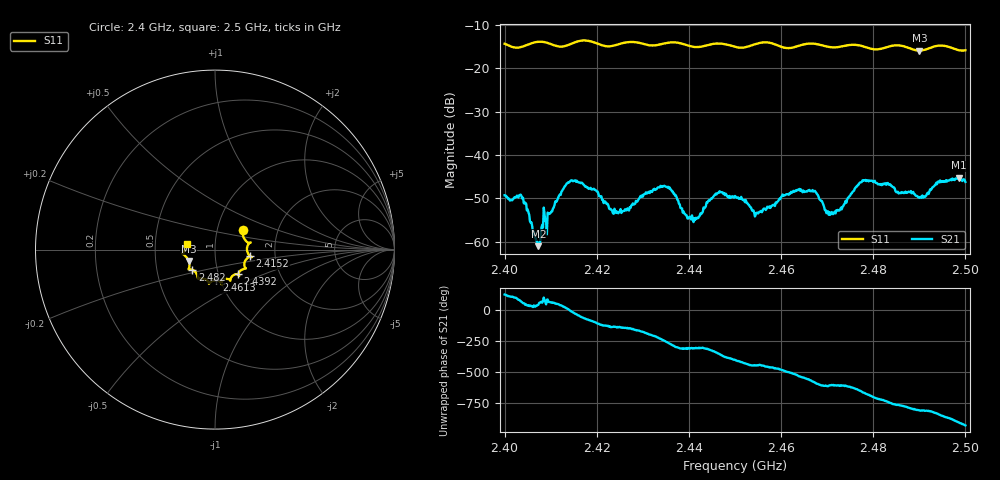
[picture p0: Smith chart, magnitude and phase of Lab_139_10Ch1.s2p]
# Hz S RI R 50
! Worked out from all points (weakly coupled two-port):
!   601 points, 2.4 GHz to 2.5 GHz, reference 50 ohm
!   highest |S21| = -45.25 dB at 2.4987 GHz (marker M1); lowest = -61.1 dB at 2.4073 GHz (marker M2)
!   lowest |S11| = -15.9 dB at 2.49 GHz (marker M3), VSWR 1.38, Z = 36.9 - j4.8 ohm
!   |S11| at or under -10 dB: start of sweep to end of sweep
!   S12 and S22 are empty: the file has one direction only
!   S11 on the Smith chart (normalised r, x): 2.4 GHz: 1.33, +0.31; 2.4152 GHz: 1.48, -0.11; 2.4392 GHz: 1.24, -0.35; 2.4613 GHz: 0.96, -0.34; 2.482 GHz: 0.76, -0.18; 2.5 GHz: 0.73, +0.05
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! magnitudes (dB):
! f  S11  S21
! 2.4 GHz  -14.3  -49.3
! 2.4038 GHz  -15.0  -50.1
! 2.4073 GHz  -13.9  -61.1
! 2.4085 GHz  -13.9  -52.2
! 2.4152 GHz  -14.0  -46.0
! 2.4167 GHz  -13.6  -46.4
! 2.4245 GHz  -14.5  -53.3
! 2.4333 GHz  -14.6  -47.5
! 2.436 GHz  -14.0  -47.9
! 2.4392 GHz  -14.5  -53.7
! 2.4463 GHz  -14.3  -48.7
! 2.45 GHz  -15.0  -49.5
! 2.4547 GHz  -14.3  -53.4
! 2.4613 GHz  -15.3  -49.1
! 2.4667 GHz  -14.3  -48.4
! 2.4708 GHz  -15.1  -53.5
! 2.4775 GHz  -14.8  -46.3
! 2.482 GHz  -15.4  -46.7
! 2.4833 GHz  -15.0  -46.8
! 2.49 GHz  -15.9  -49.7
! 2.4987 GHz  -15.8  -45.2
! 2.5 GHz  -15.8  -46.2
